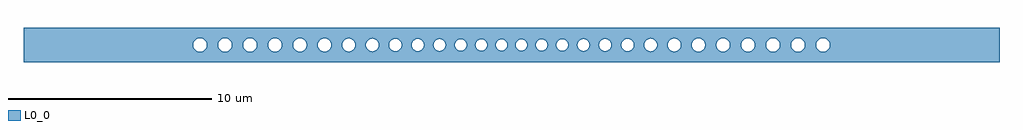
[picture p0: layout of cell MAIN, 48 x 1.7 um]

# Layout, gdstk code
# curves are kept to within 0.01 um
import gdstk
lib = gdstk.Library(unit=1e-6, precision=1e-09)
def P(c, l, *ps):  # polygons
    for p in ps: c.add(gdstk.Polygon(p, *l))
L0_0 = (0, 0)

main = lib.new_cell('MAIN')
P(main, L0_0, [(-15.346,-0.342),(-15.471,-0.308),(-15.571,-0.233),(-15.571,-0.85),(-15.346,-0.85)],
  [(-15.335,0.342),(-15.207,0.324),(-15.098,0.262),(-15.024,0.174),(-14.981,0.052),(-14.981,0.85),(-15.346,0.85),(-15.346,0.342)],
  [(-14.981,-0.052),(-15.024,-0.174),(-15.098,-0.262),(-15.222,-0.329),(-15.346,-0.342),(-15.346,-0.85),(-14.981,-0.85)],
  [(24,0.85),(15.571,0.85),(15.571,0.233),(15.632,0.142),(15.662,0.021),(15.64,-0.123),(15.571,-0.233),(15.571,-0.85),(24,-0.85)],
  [(-14.158,0.336),(-14.043,0.34),(-13.92,0.298),(-13.818,0.209),(-13.763,0.103),(-13.763,0.85),(-14.168,0.85),(-14.168,0.334)],
  [(-13.763,-0.103),(-13.818,-0.209),(-13.92,-0.298),(-14.043,-0.34),(-14.168,-0.334),(-14.168,-0.85),(-13.763,-0.85)],
  [(-14.433,0.005),(-14.414,0.113),(-14.359,0.213),(-14.278,0.287),(-14.168,0.334),(-14.168,0.85),(-14.981,0.85),(-14.977,0)],
  [(-12.978,0.322),(-12.85,0.343),(-12.723,0.314),(-12.616,0.241),(-12.553,0.151),(-12.553,0.85),(-12.988,0.85),(-12.988,0.318)],
  [(-12.553,-0.151),(-12.639,-0.262),(-12.748,-0.324),(-12.871,-0.343),(-12.988,-0.318),(-12.988,-0.85),(-12.553,-0.85)],
  [(-13.203,0.005),(-13.188,0.103),(-13.139,0.201),(-13.07,0.272),(-12.988,0.318),(-12.988,0.85),(-13.763,0.85),(-13.763,0.103),(-13.747,0)],
  [(-11.796,0.299),(-11.683,0.338),(-11.549,0.332),(-11.448,0.289),(-11.351,0.196),(-11.351,0.85),(-11.805,0.85)],
  [(-11.351,-0.196),(-11.448,-0.289),(-11.549,-0.332),(-11.683,-0.338),(-11.805,-0.294),(-11.805,-0.85),(-11.351,-0.85)],
  [(-11.973,0.005),(-11.963,0.083),(-11.931,0.165),(-11.875,0.24),(-11.805,0.294),(-11.805,0.85),(-12.553,0.85),(-12.553,0.151),(-12.518,0)],
  [(-10.612,0.269),(-10.497,0.327),(-10.383,0.338),(-10.259,0.305),(-10.159,0.231),(-10.159,0.85),(-10.62,0.85)],
  [(-10.159,-0.231),(-10.259,-0.305),(-10.383,-0.338),(-10.497,-0.327),(-10.62,-0.263),(-10.62,-0.85),(-10.159,-0.85)],
  [(-10.745,0.005),(-10.713,0.146),(-10.62,0.263),(-10.62,0.85),(-11.351,0.85),(-11.351,0.196),(-11.305,0.103),(-11.29,0)],
  [(-9.437,0.231),(-9.342,0.301),(-9.213,0.334),(-9.081,0.314),(-8.983,0.257),(-8.983,0.85),(-9.441,0.85)],
  [(-8.983,-0.257),(-9.081,-0.314),(-9.213,-0.334),(-9.342,-0.301),(-9.441,-0.227),(-9.441,-0.85),(-8.983,-0.85)],
  [(-9.53,0.003),(-9.507,0.123),(-9.441,0.227),(-9.441,0.85),(-10.159,0.85),(-10.159,0.231),(-10.087,0.112),(-10.068,0)],
  [(-8.268,0.198),(-8.165,0.288),(-8.054,0.325),(-7.932,0.32),(-7.824,0.273),(-7.824,0.85),(-8.272,0.85)],
  [(-7.824,-0.273),(-7.932,-0.32),(-8.054,-0.325),(-8.165,-0.288),(-8.272,-0.194),(-8.272,-0.85),(-7.824,-0.85)],
  [(-8.335,0.003),(-8.317,0.108),(-8.272,0.194),(-8.272,0.85),(-8.983,0.85),(-8.983,0.257),(-8.895,0.145),(-8.862,0)],
  [(-7.116,0.171),(-7.026,0.265),(-6.93,0.31),(-6.809,0.32),(-6.685,0.28),(-6.685,0.85),(-7.119,0.85)],
  [(-6.685,-0.28),(-6.809,-0.32),(-6.93,-0.31),(-7.05,-0.247),(-7.119,-0.166),(-7.119,-0.85),(-6.685,-0.85)],
  [(-7.165,0.003),(-7.157,0.073),(-7.119,0.166),(-7.119,0.85),(-7.824,0.85),(-7.824,0.273),(-7.759,0.216),(-7.711,0.143),(-7.679,0)],
  [(-5.986,0.151),(-5.91,0.243),(-5.805,0.3),(-5.686,0.314),(-5.567,0.28),(-5.567,0.85),(-5.988,0.85)],
  [(-5.567,-0.28),(-5.686,-0.314),(-5.805,-0.3),(-5.91,-0.243),(-5.988,-0.147),(-5.988,-0.85),(-5.567,-0.85)],
  [(-6.024,0.002),(-5.988,0.147),(-5.988,0.85),(-6.685,0.85),(-6.685,0.28),(-6.616,0.228),(-6.564,0.16),(-6.533,0.085),(-6.522,0)],
  [(-4.882,0.14),(-4.809,0.233),(-4.702,0.293),(-4.585,0.307),(-4.471,0.275),(-4.471,0.85),(-4.884,0.85)],
  [(-4.471,-0.275),(-4.585,-0.307),(-4.711,-0.29),(-4.809,-0.233),(-4.884,-0.136),(-4.884,-0.85),(-4.471,-0.85)],
  [(-4.916,0.002),(-4.884,0.136),(-4.884,0.85),(-5.567,0.85),(-5.567,0.28),(-5.497,0.232),(-5.44,0.162),(-5.405,0.079),(-5.395,0)],
  [(-3.803,0.141),(-3.73,0.232),(-3.632,0.286),(-3.511,0.3),(-3.394,0.265),(-3.394,0.85),(-3.806,0.85)],
  [(-3.394,-0.265),(-3.511,-0.3),(-3.632,-0.286),(-3.73,-0.232),(-3.806,-0.137),(-3.806,-0.85),(-3.394,-0.85)],
  [(-3.839,0.005),(-3.806,0.137),(-3.806,0.85),(-4.471,0.85),(-4.471,0.275),(-4.398,0.225),(-4.345,0.16),(-4.313,0.088),(-4.3,0)],
  [(-2.751,0.15),(-2.667,0.242),(-2.575,0.285),(-2.445,0.291),(-2.342,0.251),(-2.342,0.85),(-2.754,0.85)],
  [(-2.342,-0.251),(-2.445,-0.291),(-2.575,-0.285),(-2.667,-0.242),(-2.754,-0.146),(-2.754,-0.85),(-2.342,-0.85)],
  [(-2.792,0.002),(-2.754,0.146),(-2.754,0.85),(-3.394,0.85),(-3.394,0.265),(-3.331,0.219),(-3.274,0.146),(-3.237,0)],
  [(-1.721,0.167),(-1.646,0.241),(-1.531,0.287),(-1.416,0.283),(-1.308,0.232),(-1.308,0.85),(-1.723,0.85)],
  [(-1.308,-0.232),(-1.416,-0.283),(-1.531,-0.287),(-1.646,-0.241),(-1.723,-0.163),(-1.723,-0.85),(-1.308,-0.85)],
  [(-1.773,0.005),(-1.761,0.085),(-1.723,0.163),(-1.723,0.85),(-2.342,0.85),(-2.342,0.251),(-2.239,0.144),(-2.202,0)],
  [(-0.707,0.188),(-0.625,0.254),(-0.511,0.287),(-0.385,0.268),(-0.292,0.209),(-0.292,0.85),(-0.71,0.85)],
  [(-0.292,-0.209),(-0.385,-0.268),(-0.511,-0.287),(-0.625,-0.254),(-0.71,-0.185),(-0.71,-0.85),(-0.292,-0.85)],
  [(-0.777,0.005),(-0.755,0.112),(-0.71,0.185),(-0.71,0.85),(-1.308,0.85),(-1.308,0.232),(-1.227,0.138),(-1.192,0)],
  [(0.296,0.212),(0.385,0.268),(0.511,0.287),(0.625,0.254),(0.71,0.185),(0.71,0.85),(0.289,0.85)],
  [(0.71,-0.185),(0.625,-0.254),(0.511,-0.287),(0.385,-0.268),(0.289,-0.206),(0.289,-0.85),(0.71,-0.85)],
  [(0.202,0.005),(0.221,0.103),(0.289,0.206),(0.289,0.85),(-0.292,0.85),(-0.292,0.209),(-0.221,0.103),(-0.202,0)],
  [(1.312,0.235),(1.416,0.283),(1.531,0.287),(1.646,0.241),(1.723,0.163),(1.723,0.85),(1.305,0.85)],
  [(1.723,-0.163),(1.646,-0.241),(1.531,-0.287),(1.412,-0.282),(1.305,-0.229),(1.305,-0.85),(1.723,-0.85)],
  [(1.192,0.005),(1.227,0.138),(1.305,0.229),(1.305,0.85),(0.71,0.85),(0.71,0.185),(0.755,0.112),(0.777,0)],
  [(2.344,0.252),(2.453,0.292),(2.568,0.287),(2.684,0.229),(2.753,0.148),(2.753,0.85),(2.336,0.85)],
  [(2.753,-0.148),(2.684,-0.229),(2.568,-0.287),(2.453,-0.292),(2.336,-0.247),(2.336,-0.85),(2.753,-0.85)],
  [(2.202,0.002),(2.238,0.142),(2.336,0.247),(2.336,0.85),(1.723,0.85),(1.723,0.163),(1.761,0.085),(1.773,0)],
  [(3.399,0.267),(3.511,0.3),(3.632,0.286),(3.73,0.232),(3.806,0.137),(3.806,0.85),(3.39,0.85)],
  [(3.806,-0.137),(3.73,-0.232),(3.632,-0.286),(3.511,-0.3),(3.39,-0.262),(3.39,-0.85),(3.806,-0.85)],
  [(3.237,0.005),(3.274,0.146),(3.317,0.205),(3.39,0.262),(3.39,0.85),(2.753,0.85),(2.753,0.148),(2.78,0.086),(2.792,0)],
  [(4.473,0.276),(4.587,0.307),(4.709,0.291),(4.807,0.235),(4.883,0.138),(4.883,0.85),(4.464,0.85)],
  [(4.883,-0.138),(4.807,-0.235),(4.709,-0.291),(4.587,-0.307),(4.464,-0.272),(4.464,-0.85),(4.883,-0.85)],
  [(4.3,0.002),(4.312,0.085),(4.346,0.162),(4.396,0.223),(4.464,0.272),(4.464,0.85),(3.806,0.85),(3.806,0.137),(3.839,0)],
  [(5.569,0.281),(5.689,0.314),(5.812,0.298),(5.908,0.245),(5.987,0.149),(5.987,0.85),(5.56,0.85)],
  [(5.987,-0.149),(5.908,-0.245),(5.802,-0.301),(5.669,-0.312),(5.56,-0.276),(5.56,-0.85),(5.987,-0.85)],
  [(5.395,0.002),(5.407,0.086),(5.439,0.16),(5.495,0.23),(5.56,0.276),(5.56,0.85),(4.883,0.85),(4.883,0.138),(4.916,0)],
  [(6.687,0.281),(6.802,0.319),(6.922,0.312),(7.028,0.264),(7.117,0.168),(7.117,0.85),(6.678,0.85)],
  [(7.117,-0.168),(7.028,-0.264),(6.922,-0.312),(6.787,-0.317),(6.678,-0.276),(6.678,-0.85),(7.117,-0.85)],
  [(6.522,0.003),(6.558,0.149),(6.618,0.23),(6.678,0.276),(6.678,0.85),(5.987,0.85),(5.987,0.149),(6.016,0.074),(6.024,0)],
  [(7.827,0.274),(7.924,0.318),(8.061,0.324),(8.185,0.276),(8.27,0.196),(8.27,0.85),(7.818,0.85)],
  [(8.27,-0.196),(8.185,-0.276),(8.061,-0.324),(7.924,-0.318),(7.818,-0.269),(7.818,-0.85),(8.27,-0.85)],
  [(7.679,0.003),(7.717,0.155),(7.818,0.269),(7.818,0.85),(7.117,0.85),(7.117,0.168),(7.151,0.095),(7.165,0)],
  [(8.985,0.259),(9.103,0.321),(9.226,0.333),(9.34,0.302),(9.439,0.229),(9.439,0.85),(8.978,0.85)],
  [(9.439,-0.229),(9.34,-0.302),(9.21,-0.334),(9.079,-0.313),(8.978,-0.252),(8.978,-0.85),(9.439,-0.85)],
  [(8.862,0.003),(8.896,0.147),(8.978,0.252),(8.978,0.85),(8.27,0.85),(8.27,0.196),(8.321,0.096),(8.335,0)],
  [(10.159,0.231),(10.259,0.305),(10.383,0.338),(10.497,0.327),(10.62,0.263),(10.62,0.85),(10.156,0.85)],
  [(10.62,-0.263),(10.497,-0.327),(10.383,-0.338),(10.259,-0.305),(10.156,-0.227),(10.156,-0.85),(10.62,-0.85)],
  [(10.068,0.005),(10.087,0.112),(10.156,0.227),(10.156,0.85),(9.439,0.85),(9.439,0.229),(9.508,0.121),(9.53,0)],
  [(11.351,0.196),(11.448,0.289),(11.549,0.332),(11.683,0.338),(11.805,0.294),(11.805,0.85),(11.348,0.85)],
  [(11.805,-0.294),(11.683,-0.338),(11.549,-0.332),(11.435,-0.28),(11.348,-0.191),(11.348,-0.85),(11.805,-0.85)],
  [(11.29,0.005),(11.305,0.103),(11.348,0.191),(11.348,0.85),(10.62,0.85),(10.62,0.263),(10.713,0.146),(10.745,0)],
  [(12.553,0.151),(12.639,0.262),(12.748,0.324),(12.871,0.343),(12.988,0.318),(12.988,0.85),(12.551,0.85)],
  [(12.988,-0.318),(12.871,-0.343),(12.748,-0.324),(12.639,-0.262),(12.551,-0.147),(12.551,-0.85),(12.988,-0.85)],
  [(12.518,0.005),(12.551,0.147),(12.551,0.85),(11.805,0.85),(11.805,0.294),(11.875,0.24),(11.931,0.165),(11.963,0.083),(11.973,0)],
  [(13.763,0.103),(13.818,0.209),(13.92,0.298),(14.043,0.34),(14.168,0.334),(14.168,0.85),(13.762,0.85)],
  [(14.168,-0.334),(14.043,-0.34),(13.92,-0.298),(13.818,-0.209),(13.762,-0.098),(13.762,-0.85),(14.168,-0.85)],
  [(13.747,0.005),(13.762,0.098),(13.762,0.85),(12.988,0.85),(12.988,0.318),(13.07,0.272),(13.139,0.201),(13.188,0.103),(13.203,0)],
  [(14.981,0.052),(15.024,0.174),(15.098,0.262),(15.222,0.329),(15.346,0.342),(15.346,0.85),(14.98,0.85)],
  [(15.346,-0.342),(15.222,-0.329),(15.098,-0.262),(15.014,-0.156),(14.98,-0.047),(14.98,-0.85),(15.346,-0.85)],
  [(-15.571,-0.233),(-15.632,-0.142),(-15.662,-0.021),(-15.64,0.123),(-15.571,0.233),(-15.571,0.85),(-24,0.85),(-24,-0.85),(-15.571,-0.85)],
  [(-15.567,0.237),(-15.471,0.308),(-15.346,0.342),(-15.346,0.85),(-15.571,0.85)],
  [(15.571,0.85),(15.346,0.85),(15.346,0.342),(15.471,0.308),(15.571,0.233)],
  [(15.571,-0.233),(15.471,-0.308),(15.346,-0.342),(15.346,-0.85),(15.571,-0.85)],
  [(-14.168,-0.334),(-14.278,-0.287),(-14.359,-0.213),(-14.414,-0.113),(-14.433,0),(-14.977,0),(-14.981,-0.85),(-14.168,-0.85)],
  [(-12.988,-0.318),(-13.07,-0.272),(-13.139,-0.201),(-13.188,-0.103),(-13.203,0),(-13.747,0),(-13.763,-0.103),(-13.763,-0.85),(-12.988,-0.85)],
  [(-11.805,-0.294),(-11.875,-0.24),(-11.931,-0.165),(-11.963,-0.083),(-11.973,0),(-12.518,0),(-12.553,-0.151),(-12.553,-0.85),(-11.805,-0.85)],
  [(-10.62,-0.263),(-10.713,-0.146),(-10.745,0),(-11.29,0),(-11.305,-0.103),(-11.351,-0.196),(-11.351,-0.85),(-10.62,-0.85)],
  [(-9.441,-0.227),(-9.507,-0.123),(-9.53,0),(-10.068,0),(-10.087,-0.112),(-10.159,-0.231),(-10.159,-0.85),(-9.441,-0.85)],
  [(-8.272,-0.194),(-8.317,-0.108),(-8.335,0),(-8.862,0),(-8.895,-0.145),(-8.983,-0.257),(-8.983,-0.85),(-8.272,-0.85)],
  [(-7.119,-0.166),(-7.157,-0.073),(-7.165,0),(-7.679,0),(-7.711,-0.143),(-7.759,-0.216),(-7.824,-0.273),(-7.824,-0.85),(-7.119,-0.85)],
  [(-5.988,-0.147),(-6.024,0),(-6.522,0),(-6.533,-0.085),(-6.564,-0.16),(-6.616,-0.228),(-6.685,-0.28),(-6.685,-0.85),(-5.988,-0.85)],
  [(-4.884,-0.136),(-4.916,0),(-5.395,0),(-5.405,-0.079),(-5.44,-0.162),(-5.497,-0.232),(-5.567,-0.28),(-5.567,-0.85),(-4.884,-0.85)],
  [(-3.806,-0.137),(-3.839,0),(-4.3,0),(-4.313,-0.088),(-4.345,-0.16),(-4.398,-0.225),(-4.471,-0.275),(-4.471,-0.85),(-3.806,-0.85)],
  [(-2.754,-0.146),(-2.782,-0.079),(-2.792,0),(-3.237,0),(-3.274,-0.146),(-3.331,-0.219),(-3.394,-0.265),(-3.394,-0.85),(-2.754,-0.85)],
  [(-1.723,-0.163),(-1.761,-0.085),(-1.773,0),(-2.202,0),(-2.239,-0.144),(-2.342,-0.251),(-2.342,-0.85),(-1.723,-0.85)],
  [(-0.71,-0.185),(-0.755,-0.112),(-0.777,0),(-1.192,0),(-1.223,-0.13),(-1.308,-0.232),(-1.308,-0.85),(-0.71,-0.85)],
  [(0.289,-0.206),(0.221,-0.103),(0.202,0),(-0.202,0),(-0.221,-0.103),(-0.292,-0.209),(-0.292,-0.85),(0.289,-0.85)],
  [(1.305,-0.229),(1.223,-0.13),(1.192,0),(0.777,0),(0.755,-0.112),(0.71,-0.185),(0.71,-0.85),(1.305,-0.85)],
  [(2.336,-0.247),(2.238,-0.142),(2.202,0),(1.773,0),(1.761,-0.085),(1.723,-0.163),(1.723,-0.85),(2.336,-0.85)],
  [(3.39,-0.262),(3.331,-0.219),(3.274,-0.146),(3.237,0),(2.792,0),(2.78,-0.086),(2.753,-0.148),(2.753,-0.85),(3.39,-0.85)],
  [(4.464,-0.272),(4.396,-0.223),(4.346,-0.162),(4.312,-0.085),(4.3,0),(3.839,0),(3.806,-0.137),(3.806,-0.85),(4.464,-0.85)],
  [(5.56,-0.276),(5.495,-0.23),(5.436,-0.155),(5.407,-0.086),(5.395,0),(4.916,0),(4.883,-0.138),(4.883,-0.85),(5.56,-0.85)],
  [(6.678,-0.276),(6.618,-0.23),(6.558,-0.149),(6.522,0),(6.024,0),(6.016,-0.074),(5.987,-0.149),(5.987,-0.85),(6.678,-0.85)],
  [(7.818,-0.269),(7.717,-0.155),(7.688,-0.079),(7.679,0),(7.165,0),(7.151,-0.095),(7.117,-0.168),(7.117,-0.85),(7.818,-0.85)],
  [(8.978,-0.252),(8.896,-0.147),(8.862,0),(8.335,0),(8.321,-0.096),(8.27,-0.196),(8.27,-0.85),(8.978,-0.85)],
  [(10.156,-0.227),(10.087,-0.112),(10.068,0),(9.53,0),(9.508,-0.121),(9.439,-0.229),(9.439,-0.85),(10.156,-0.85)],
  [(11.348,-0.191),(11.305,-0.103),(11.29,0),(10.745,0),(10.713,-0.146),(10.62,-0.263),(10.62,-0.85),(11.348,-0.85)],
  [(12.551,-0.147),(12.518,0),(11.973,0),(11.963,-0.083),(11.931,-0.165),(11.875,-0.24),(11.805,-0.294),(11.805,-0.85),(12.551,-0.85)],
  [(13.762,-0.098),(13.747,0),(13.203,0),(13.188,-0.103),(13.139,-0.201),(13.07,-0.272),(12.988,-0.318),(12.988,-0.85),(13.762,-0.85)],
  [(14.98,-0.047),(14.977,0),(14.433,0),(14.414,-0.113),(14.359,-0.213),(14.278,-0.287),(14.168,-0.334),(14.168,-0.85),(14.98,-0.85)],
  [(14.977,0.005),(14.98,0.85),(14.168,0.85),(14.168,0.334),(14.278,0.287),(14.359,0.213),(14.414,0.113),(14.433,0)])

lib.write_gds('MAIN.gds')
